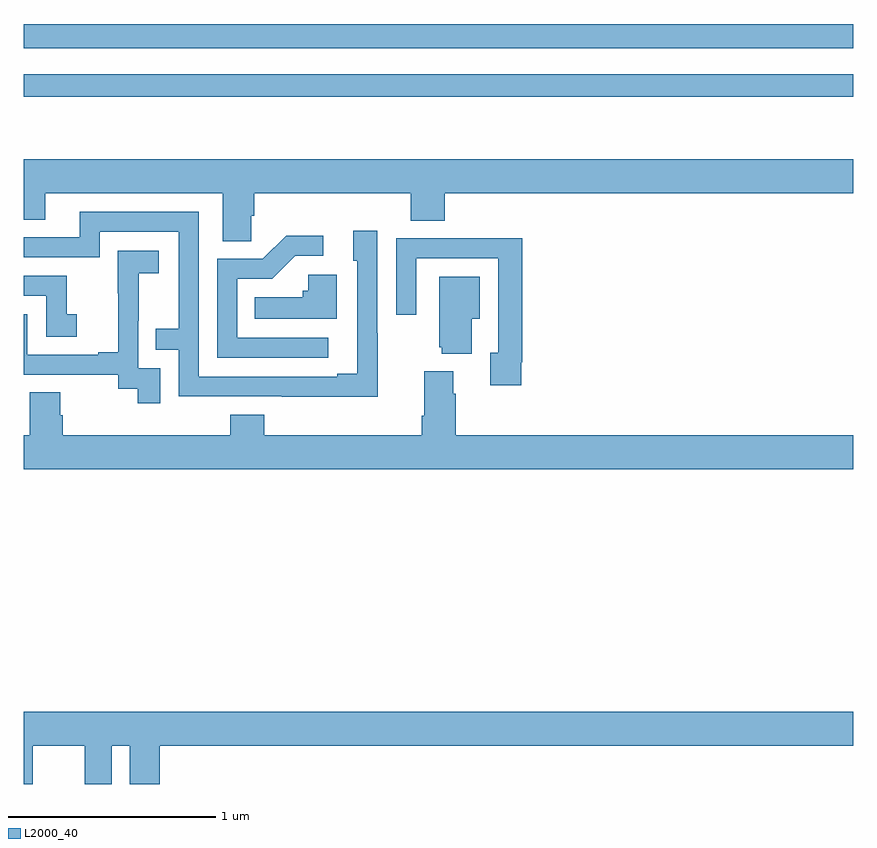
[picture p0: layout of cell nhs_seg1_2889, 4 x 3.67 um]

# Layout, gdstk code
import gdstk
lib = gdstk.Library(unit=1e-6, precision=1e-09)
def R(c, l, rs):  # rectangles x0, y0, x1, y1
    for r in rs: c.add(gdstk.rectangle(r[:2], r[2:], *l))
def P(c, l, *ps):  # polygons
    for p in ps: c.add(gdstk.Polygon(p, *l))
L2000_40 = (2000, 40)

nhs_seg1_2889 = lib.new_cell('nhs_seg1_2889')
R(nhs_seg1_2889, L2000_40, [(267,569.514,271,569.622), (267,569.748,271,569.864)])
P(nhs_seg1_2889, L2000_40, [(268.098,568.939),(268.112,568.939),(268.112,569.048),(268.865,569.048),(268.865,568.915),(269.03,568.915),(269.03,569.048),(271,569.048),(271,569.212),(267,569.212),(267,568.921),(267.103,568.921),(267.103,569.048),(267.959,569.048),(267.959,568.816),(268.098,568.816)],
  [(268.707,568.373),(268.704,568.373),(268.704,568.867),(268.589,568.867),(268.589,568.722),(268.608,568.722),(268.608,568.177),(268.511,568.177),(268.511,568.164),(267.843,568.164),(267.843,568.959),(267.269,568.959),(267.269,568.836),(267,568.836),(267,568.74),(267.366,568.74),(267.366,568.863),(267.747,568.863),(267.747,568.394),(267.637,568.394),(267.637,568.293),(267.747,568.293),(267.747,568.068),(268.243,568.068),(268.243,568.067),(268.707,568.067)],
  [(268.468,568.35),(268.029,568.35),(268.029,568.635),(268.198,568.635),(268.309,568.746),(268.444,568.746),(268.444,568.844),(268.265,568.844),(268.152,568.731),(267.933,568.731),(267.933,568.254),(268.468,568.254)],
  [(269.398,568.234),(269.405,568.234),(269.405,568.832),(269.113,568.832),(269.113,568.83),(268.797,568.83),(268.797,568.461),(268.893,568.461),(268.893,568.734),(269.289,568.734),(269.289,568.278),(269.249,568.278),(269.249,568.122),(269.398,568.122)],
  [(267.657,568.203),(267.552,568.203),(267.552,568.433),(267.554,568.433),(267.554,568.661),(267.652,568.661),(267.652,568.771),(267.454,568.771),(267.454,568.565),(267.455,568.565),(267.455,568.282),(267.359,568.282),(267.359,568.269),(267.018,568.269),(267.018,568.464),(267,568.464),(267,568.173),(267.456,568.173),(267.456,568.105),(267.549,568.105),(267.549,568.035),(267.657,568.035)],
  [(268.51,568.654),(268.371,568.654),(268.371,568.578),(268.345,568.578),(268.345,568.546),(268.114,568.546),(268.114,568.442),(268.51,568.442)],
  [(267.256,568.465),(267.207,568.465),(267.207,568.65),(267,568.65),(267,568.554),(267.108,568.554),(267.108,568.356),(267.256,568.356)],
  [(269.161,568.442),(269.2,568.442),(269.2,568.645),(269.003,568.645),(269.003,568.305),(269.015,568.305),(269.015,568.274),(269.161,568.274)],
  [(271,567.88),(269.084,567.88),(269.084,568.082),(269.071,568.082),(269.071,568.189),(268.931,568.189),(268.931,567.976),(268.919,567.976),(268.919,567.88),(268.16,567.88),(268.16,567.979),(267.995,567.979),(267.995,567.88),(267.188,567.88),(267.188,567.978),(267.175,567.978),(267.175,568.088),(267.028,568.088),(267.028,567.88),(267,567.88),(267,567.716),(271,567.716)],
  [(267.043,566.384),(267.293,566.384),(267.293,566.199),(267.424,566.199),(267.424,566.384),(267.512,566.384),(267.512,566.199),(267.656,566.199),(267.656,566.384),(271,566.384),(271,566.548),(267,566.548),(267,566.199),(267.043,566.199)])

lib.write_gds('nhs_seg1_2889.gds')
